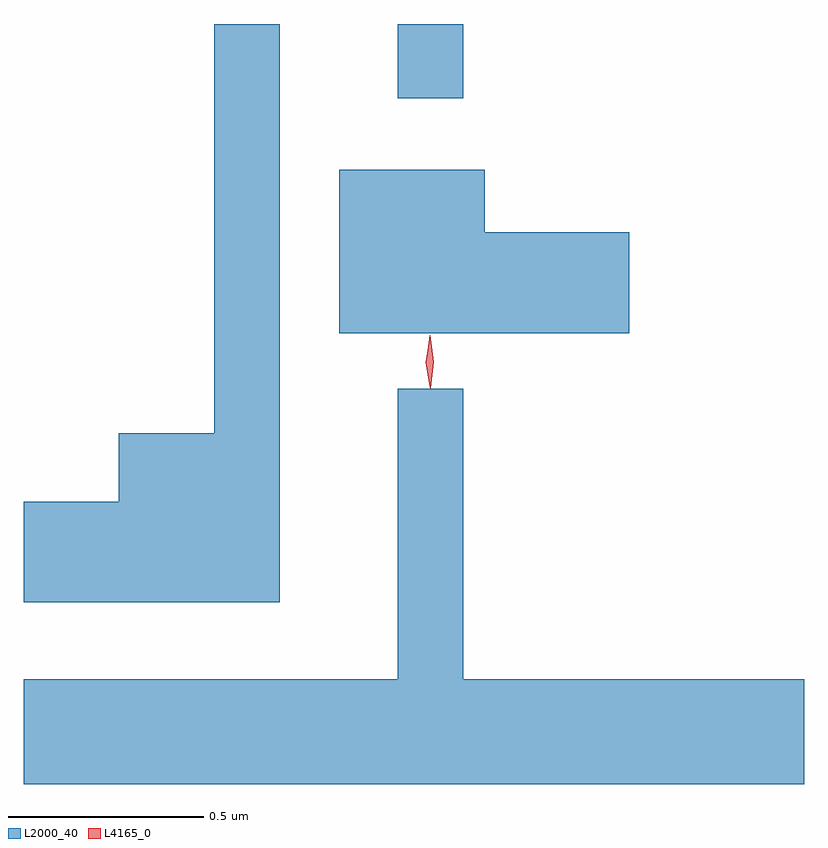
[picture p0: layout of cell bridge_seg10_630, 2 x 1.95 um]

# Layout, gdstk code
import gdstk
lib = gdstk.Library(unit=1e-6, precision=1e-09)
def R(c, l, rs):  # rectangles x0, y0, x1, y1
    for r in rs: c.add(gdstk.rectangle(r[:2], r[2:], *l))
def P(c, l, *ps):  # polygons
    for p in ps: c.add(gdstk.Polygon(p, *l))
L2000_40 = (2000, 40)
L4165_0 = (4165, 0)

bridge_seg10_630 = lib.new_cell('bridge_seg10_630')
R(bridge_seg10_630, L2000_40, [(820.591,2151.193,820.759,2151.383)])
P(bridge_seg10_630, L2000_40, [(820.289,2151.383),(820.121,2151.383),(820.121,2150.334),(819.876,2150.334),(819.876,2150.159),(819.633,2150.159),(819.633,2149.901),(820.289,2149.901)],
  [(821.184,2150.849),(820.814,2150.849),(820.814,2151.009),(820.441,2151.009),(820.441,2150.591),(821.184,2150.591)],
  [(821.633,2149.704),(820.759,2149.704),(820.759,2150.448),(820.591,2150.448),(820.591,2149.704),(819.633,2149.704),(819.633,2149.436),(821.633,2149.436)])
P(bridge_seg10_630, L4165_0, [(820.673,2150.453),(820.673,2150.454),(820.663,2150.516),(820.673,2150.579),(820.673,2150.58),(820.674,2150.579),(820.683,2150.516),(820.674,2150.454)],
  [(820.674,2150.45),(820.664,2150.518),(820.673,2150.586),(820.674,2150.586),(820.674,2150.586),(820.684,2150.518),(820.676,2150.45),(820.675,2150.45)])

lib.write_gds('bridge_seg10_630.gds')
